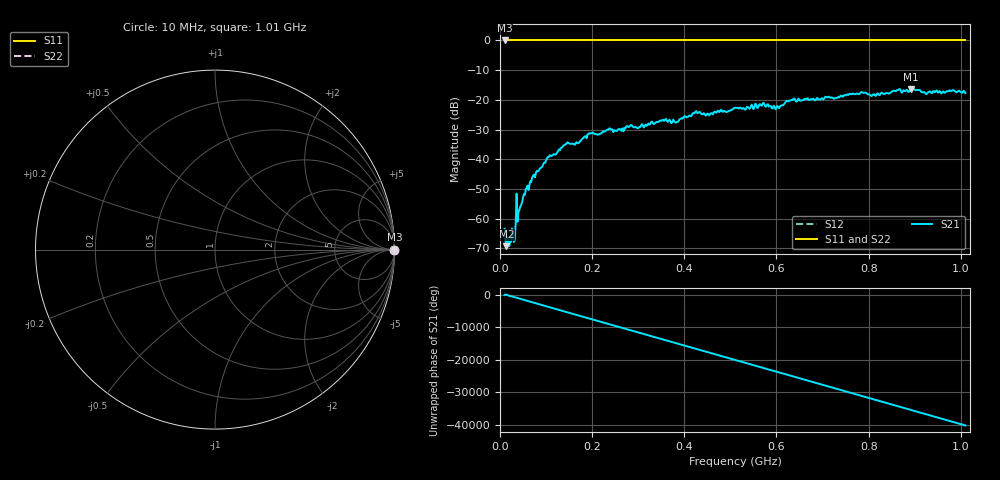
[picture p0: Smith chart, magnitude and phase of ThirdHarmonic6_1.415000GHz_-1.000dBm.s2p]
! 8/16/2025 4:14:49 PM
! C:\ANRITSUVNA\TEMP\TEMP.S2P
! CHANNEL.1
! TR.MEASUREMENT
! RAW.DATA
! RF.CORRECTION.OFF
! AVERAGING.OFF
! IF.BANDWIDTH: 5KHZ
! SWEEPTYPE:  FREQ.SWEEP(Linear)
! Reference Plane Port Info
! PORT:  PORT1  PORT2
! DISTANCE:  0  m  0  m
! TIME:  0  s  0  s
! PHASE.OFFSET:  0  deg.  0  deg.
! LOSS:  0  dB  0  dB
! REF.LOSS:  0  dB  0  dB
! REF.FREQ:  0  Hz  0  Hz
! Power Info
! POWER:  -20  dBm  -20  dBm
! EFF.POWER:  -20  dBm  -20  dBm
! SOURCE.ATTEN:  0  dB  0  dB
! TEST.ATTEN:  0  dB  0  dB
# GHZ S RI R 50.0
! FREQ.GHZ  S11RE  S11IM  S21RE  S21IM  S12RE  S12IM  S22RE  S22IM
!; PortSelection: Port_12
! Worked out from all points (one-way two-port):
!   501 points, 10 MHz to 1.01 GHz, reference 50 ohm
!   highest |S21| = -16.30 dB at 892 MHz (marker M1); lowest = -69.2 dB at 14 MHz (marker M2)
!   lowest |S11| = 0.0 dB at 10 MHz (marker M3)
!   |S11| at or under -10 dB: nowhere
!   |S22| runs from 0.0 to 0.0 dB; largest |S21 - S12| = 1.1
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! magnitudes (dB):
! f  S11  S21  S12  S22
! 10 MHz  0.0  -63.4  0.0  0.0
! 14 MHz  0.0  -69.2  0.0  0.0
! 18 MHz  0.0  -66.7  0.0  0.0
! 28 MHz  0.0  -64.4  0.0  0.0
! 40 MHz  0.0  -57.8  0.0  0.0
! 42 MHz  0.0  -57.1  0.0  0.0
! 56 MHz  0.0  -50.1  0.0  0.0
! 76 MHz  0.0  -46.1  0.0  0.0
! 106 MHz  0.0  -39.2  0.0  0.0
! 142 MHz  0.0  -34.9  0.0  0.0
! 178 MHz  0.0  -33.2  0.0  0.0
! 198 MHz  0.0  -31.2  0.0  0.0
! 344 MHz  0.0  -27.5  0.0  0.0
! 384 MHz  0.0  -27.4  0.0  0.0
! 422 MHz  0.0  -24.5  0.0  0.0
! 510 MHz  0.0  -22.6  0.0  0.0
! 602 MHz  0.0  -22.1  0.0  0.0
! 636 MHz  0.0  -19.8  0.0  0.0
! 678 MHz  0.0  -19.8  0.0  0.0
! 844 MHz  0.0  -17.9  0.0  0.0
! 892 MHz  0.0  -16.3  0.0  0.0
! 1.01 GHz  0.0  -17.7  0.0  0.0
